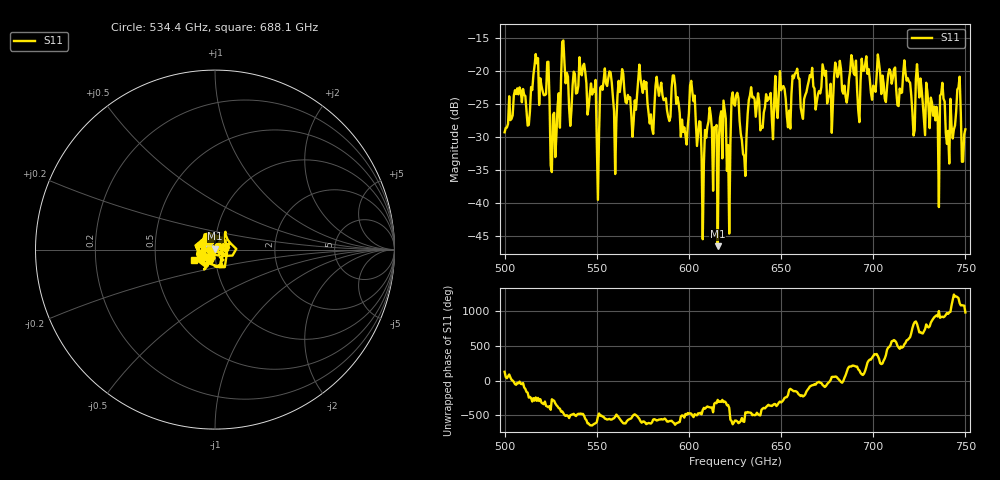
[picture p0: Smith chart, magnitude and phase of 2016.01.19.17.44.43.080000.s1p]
!Created with skrf (http://scikit-rf.org).
# GHz S RI R 50.0
!freq ReS11 ImS11
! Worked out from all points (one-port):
!   401 points, 500 GHz to 750 GHz, reference 50 ohm
!   lowest |S11| = -46.5 dB at 615.6 GHz (marker M1), VSWR 1.01, Z = 50.1 + j0.47 ohm
!   |S11| at or under -10 dB: start of sweep to end of sweep
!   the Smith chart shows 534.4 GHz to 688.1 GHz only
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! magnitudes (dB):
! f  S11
! 500 GHz  -29.3
! 513.1 GHz  -28.2
! 516.9 GHz  -17.5
! 523.1 GHz  -18.7
! 526.2 GHz  -26.7
! 531.2 GHz  -15.6
! 535.6 GHz  -28.3
! 541.9 GHz  -20.7
! 550 GHz  -30.9
! 553.1 GHz  -22.9
! 560 GHz  -35.6
! 562.5 GHz  -23.2
! 593.8 GHz  -24.0
! 601.9 GHz  -23.2
! 608.1 GHz  -33.9
! 611.2 GHz  -25.6
! 615.6 GHz  -46.5
! 618.8 GHz  -24.5
! 621.2 GHz  -31.2
! 625 GHz  -25.3
! 630 GHz  -32.9
! 633.8 GHz  -22.5
! 656.2 GHz  -20.7
! 687.5 GHz  -20.0
! 718.8 GHz  -21.1
! 734.4 GHz  -25.5
! 746.2 GHz  -22.5
! 750 GHz  -28.8
